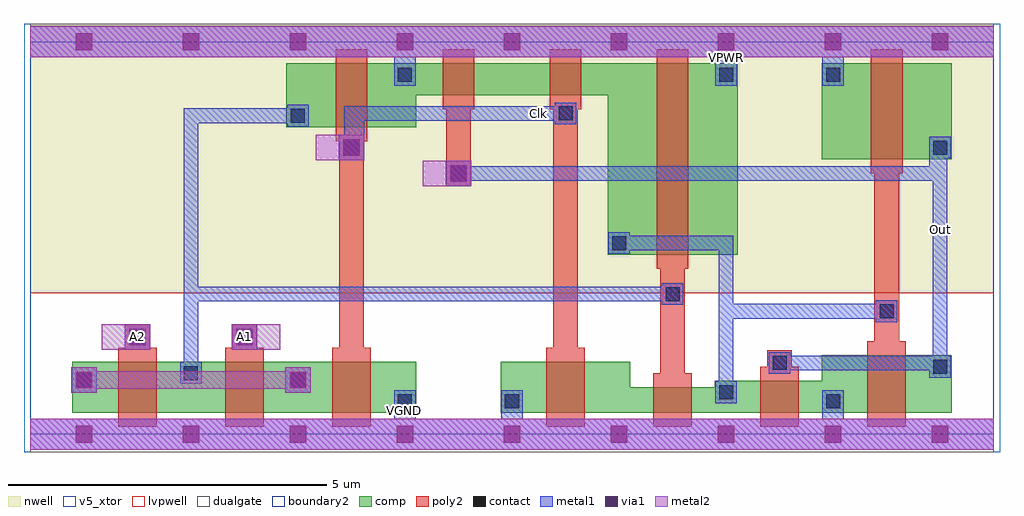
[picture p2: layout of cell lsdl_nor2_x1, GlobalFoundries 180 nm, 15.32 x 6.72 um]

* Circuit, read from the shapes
.subckt lsdl_nor2_x1 A1 A2 Clk Out VGND VPWR
XM1 n1 A2 n2 VSUBS nfet_05v0 w=0.8u l=0.6u
XM2 n2 A1 n1 VSUBS nfet_05v0 w=0.8u l=0.6u
XM3 VGND Clk n2 VSUBS nfet_05v0 w=0.8u l=0.6u
XM4 n3 Clk VGND VSUBS nfet_05v0 w=0.8u l=0.6u
XM5 n4 n1 n3 VSUBS nfet_05v0 w=0.4u l=0.6u
XM6 VGND Out n4 VSUBS nfet_05v0 w=0.5u l=0.6u
XM7 Out n4 VGND VSUBS nfet_05v0 w=0.9u l=0.6u
XM8 VPWR Clk n1 n5 pfet_05v0 w=1u l=0.5u
XM9 n6 Out VPWR n5 pfet_05v0 w=0.5u l=0.5u
XM10 n4 Clk n6 n5 pfet_05v0 w=0.5u l=0.5u
XM11 VPWR n1 n4 n5 pfet_05v0 w=3u l=0.5u
XM12 Out n4 VPWR n5 pfet_05v0 w=1.5u l=0.5u
.ends

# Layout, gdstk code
import gdstk
lib = gdstk.Library(unit=1e-6, precision=1e-09)
def R(c, l, rs):  # rectangles x0, y0, x1, y1
    for r in rs: c.add(gdstk.rectangle(r[:2], r[2:], *l))
def A(c, l, x, y, w, h, nx, ny, dx, dy):  # array of equal rectangles
    R(c, l, [(x+i*dx, y+j*dy, x+i*dx+w, y+j*dy+h) for i in range(nx) for j in range(ny)])
def P(c, l, *ps):  # polygons
    for p in ps: c.add(gdstk.Polygon(p, *l))
nwell = (21, 0)
comp = (22, 0)
poly2 = (30, 0)
contact = (33, 0)
metal1 = (34, 0)
via1 = (35, 0)
metal2 = (36, 0)
dualgate = (55, 0)
boundary2 = (63, 0)
v5_xtor = (112, 1)
lvpwell = (204, 0)

lsdl_nor2_x1 = lib.new_cell('lsdl_nor2_x1')
R(lsdl_nor2_x1, nwell, [(0,2.22,15.12,6.42)])
R(lsdl_nor2_x1, comp, [(0.66,0.34,6.06,1.14), (12.42,4.32,14.46,5.82)])
P(lsdl_nor2_x1, comp, [(7.38,0.34),(7.38,1.14),(9.42,1.14),(9.42,0.74),(10.74,0.74),(10.74,0.84),(12.42,0.84),(12.42,1.24),(14.46,1.24),(14.46,0.34)],
  [(9.06,2.82),(9.06,5.32),(6.06,5.32),(6.06,4.82),(4.02,4.82),(4.02,5.82),(11.1,5.82),(11.1,2.82)])
P(lsdl_nor2_x1, poly2, [(11.46,0.12),(11.46,1.06),(11.565,1.06),(11.565,1.315),(11.955,1.315),(11.955,1.06),(12.06,1.06),(12.06,0.12)],
  [(1.38,0.12),(1.38,1.36),(1.485,1.36),(1.485,1.72),(1.875,1.72),(1.875,1.36),(1.98,1.36),(1.98,0.12)],
  [(3.06,0.12),(3.06,1.36),(3.165,1.36),(3.165,1.72),(3.555,1.72),(3.555,1.36),(3.66,1.36),(3.66,0.12)],
  [(4.74,0.12),(4.74,1.36),(4.845,1.36),(4.845,4.6),(4.79,4.6),(4.79,6.04),(5.29,6.04),(5.29,4.6),(5.235,4.6),(5.235,1.36),(5.34,1.36),(5.34,0.12)],
  [(6.525,3.895),(6.525,5.1),(6.47,5.1),(6.47,6.04),(6.97,6.04),(6.97,5.1),(6.915,5.1),(6.915,3.895)],
  [(8.1,0.12),(8.1,1.36),(8.205,1.36),(8.205,5.1),(8.15,5.1),(8.15,6.04),(8.65,6.04),(8.65,5.1),(8.595,5.1),(8.595,1.36),(8.7,1.36),(8.7,0.12)],
  [(9.78,0.12),(9.78,0.96),(9.885,0.96),(9.885,2.6),(9.83,2.6),(9.83,6.04),(10.33,6.04),(10.33,2.6),(10.275,2.6),(10.275,0.96),(10.38,0.96),(10.38,0.12)],
  [(13.14,0.12),(13.14,1.46),(13.245,1.46),(13.245,4.1),(13.19,4.1),(13.19,6.04),(13.69,6.04),(13.69,4.1),(13.635,4.1),(13.635,1.46),(13.74,1.46),(13.74,0.12)])
R(lsdl_nor2_x1, contact, [(5.77,0.41,5.99,0.63), (7.45,0.41,7.67,0.63), (12.49,0.41,12.71,0.63), (10.81,0.55,11.03,0.77), (0.73,0.74,0.95,0.96), (4.09,0.74,4.31,0.96), (2.41,0.85,2.63,1.07), (14.17,0.95,14.39,1.17), (11.65,1.01,11.87,1.23), (1.57,1.415,1.79,1.635), (3.25,1.415,3.47,1.635), (13.33,1.82,13.55,2.04), (9.97,2.09,10.19,2.31), (9.13,2.89,9.35,3.11), (6.61,3.98,6.83,4.2), (4.93,4.39,5.15,4.61), (14.17,4.39,14.39,4.61), (4.09,4.89,4.31,5.11), (8.29,4.925,8.51,5.145), (5.77,5.53,5.99,5.75), (10.81,5.53,11.03,5.75), (12.49,5.53,12.71,5.75)])
R(lsdl_nor2_x1, metal1, [(0.64,0.65,1.04,1.05), (4,0.65,4.4,1.05), (1.48,1.325,1.88,1.725), (3.16,1.325,3.56,1.725)])
P(lsdl_nor2_x1, metal1, [(0,-0.24),(0,0.24),(5.71,0.24),(5.71,0.69),(6.05,0.69),(6.05,0.24),(7.39,0.24),(7.39,0.69),(7.73,0.69),(7.73,0.24),(12.43,0.24),(12.43,0.69),(12.77,0.69),(12.77,0.24),(15.12,0.24),(15.12,-0.24)],
  [(10.75,0.49),(10.75,0.83),(10.805,0.83),(10.805,2.885),(9.41,2.885),(9.41,2.83),(9.07,2.83),(9.07,3.17),(9.41,3.17),(9.41,3.115),(11.035,3.115),(11.035,2.045),(13.27,2.045),(13.27,2.1),(13.61,2.1),(13.61,1.76),(13.27,1.76),(13.27,1.815),(11.035,1.815),(11.035,0.83),(11.09,0.83),(11.09,0.49)],
  [(14.11,0.89),(14.11,1.005),(11.93,1.005),(11.93,0.95),(11.59,0.95),(11.59,1.29),(11.93,1.29),(11.93,1.235),(14.165,1.235),(14.165,3.975),(6.92,3.975),(6.92,3.89),(6.52,3.89),(6.52,4.29),(6.92,4.29),(6.92,4.205),(14.11,4.205),(14.11,4.67),(14.45,4.67),(14.45,4.33),(14.395,4.33),(14.395,1.23),(14.45,1.23),(14.45,0.89)],
  [(2.35,0.79),(2.35,1.13),(2.405,1.13),(2.405,5.115),(4.03,5.115),(4.03,5.17),(4.37,5.17),(4.37,4.83),(4.03,4.83),(4.03,4.885),(2.635,4.885),(2.635,2.315),(9.91,2.315),(9.91,2.37),(10.25,2.37),(10.25,2.03),(9.91,2.03),(9.91,2.085),(2.635,2.085),(2.635,1.13),(2.69,1.13),(2.69,0.79)],
  [(4.84,4.3),(4.84,4.7),(4.925,4.7),(4.925,5.15),(8.23,5.15),(8.23,5.205),(8.57,5.205),(8.57,4.865),(8.23,4.865),(8.23,4.92),(5.24,4.92),(5.24,4.3)],
  [(5.71,5.47),(5.71,5.92),(0,5.92),(0,6.4),(15.12,6.4),(15.12,5.92),(12.77,5.92),(12.77,5.47),(12.43,5.47),(12.43,5.92),(11.09,5.92),(11.09,5.47),(10.75,5.47),(10.75,5.92),(6.05,5.92),(6.05,5.47)])
A(lsdl_nor2_x1, via1, 0.71, -0.13, 0.26, 0.26, 9, 2, 1.68, 6.16)
R(lsdl_nor2_x1, via1, [(0.71,0.72,0.97,0.98), (4.07,0.72,4.33,0.98), (1.55,1.395,1.81,1.655), (3.23,1.395,3.49,1.655), (6.59,3.96,6.85,4.22), (4.91,4.37,5.17,4.63)])
R(lsdl_nor2_x1, metal2, [(0,-0.24,15.12,0.24), (1.12,1.325,1.88,1.725), (3.16,1.325,3.92,1.725), (6.16,3.89,6.92,4.29), (4.48,4.3,5.24,4.7), (0,5.92,15.12,6.4)])
P(lsdl_nor2_x1, metal2, [(0.64,0.65),(0.64,1.05),(1.04,1.05),(1.04,0.99),(4,0.99),(4,1.05),(4.4,1.05),(4.4,0.65),(4,0.65),(4,0.71),(1.04,0.71),(1.04,0.65)])
R(lsdl_nor2_x1, dualgate, [(0,-0.28,15.12,6.44)])
R(lsdl_nor2_x1, boundary2, [(0,0,15.12,6.16)])
R(lsdl_nor2_x1, v5_xtor, [(-0.1,-0.28,15.22,6.44)])
R(lsdl_nor2_x1, lvpwell, [(0,0,15.12,2.22)])
lsdl_nor2_x1.add(gdstk.Label('A1', (3.36,1.527), layer=34, texttype=0))
lsdl_nor2_x1.add(gdstk.Label('A2', (1.68,1.527), layer=34, texttype=0))
lsdl_nor2_x1.add(gdstk.Label('Clk', (7.98,5.037), layer=34, texttype=0))
lsdl_nor2_x1.add(gdstk.Label('Out', (14.28,3.214), layer=34, texttype=0))
lsdl_nor2_x1.add(gdstk.Label('VPWR', (10.92,5.914), layer=34, texttype=0))
lsdl_nor2_x1.add(gdstk.Label('VGND', (5.88,0.379), layer=34, texttype=0))

lib.write_gds('lsdl_nor2_x1.gds')
